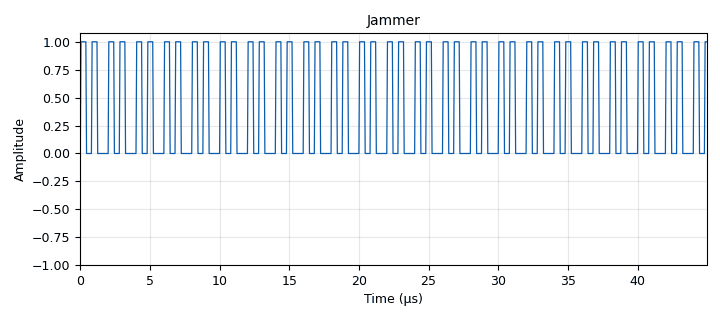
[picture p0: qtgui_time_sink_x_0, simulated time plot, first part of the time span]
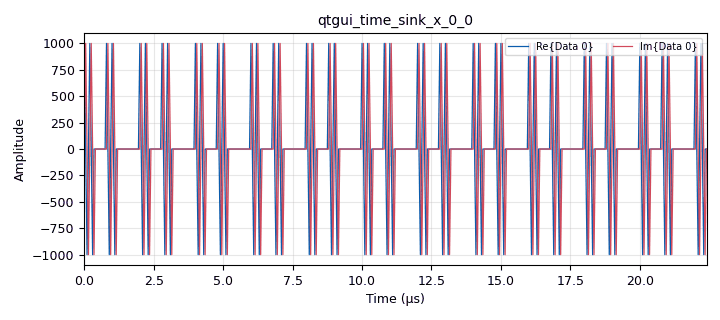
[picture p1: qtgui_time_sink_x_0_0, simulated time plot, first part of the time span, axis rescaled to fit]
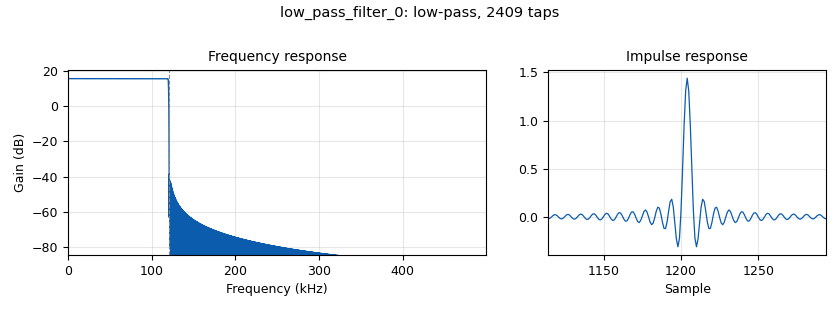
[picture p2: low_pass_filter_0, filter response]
options:
  parameters:
    generate_options: qt_gui
    id: rolling_code_grabber
    output_language: python
    title: Not titled yet
  states: {}

blocks:
- name: samp_rate_jammer
  id: variable
  parameters:
    value: 20e6
  states: {}
- name: samp_rate_listener
  id: variable
  parameters:
    value: 1e6
  states: {}
- name: seleziona_frequenza
  id: variable_qtgui_entry
  parameters:
    type: real
    value: 433.85e6
  states: {}
- name: signal_freq
  id: variable
  parameters:
    value: 5000e3
  states: {}
- name: tx_freq
  id: variable
  parameters:
    value: 435.5e6
  states: {}
- name: analog_const_source_x_0
  id: analog_const_source_x
  parameters:
    const: '0'
    type: float
  states: {}
- name: analog_sig_source_x_0
  id: analog_sig_source_x
  parameters:
    amp: '1000'
    freq: signal_freq
    offset: '0'
    phase: '0'
    samp_rate: samp_rate_jammer
    type: complex
    waveform: analog.GR_COS_WAVE
  states: {}
- name: blocks_file_sink_1
  id: blocks_file_sink
  parameters:
    file: /tmp/test.rec
    type: complex
  states: {}
- name: blocks_file_source_0
  id: blocks_file_source
  parameters:
    file: /tmp/test.rec
    repeat: 'True'
    type: complex
  states: {state: disabled}
- name: blocks_float_to_complex_0
  id: blocks_float_to_complex
  parameters: {}
  states: {}
- name: blocks_multiply_xx_0
  id: blocks_multiply_xx
  parameters:
    type: complex
  states: {}
- name: blocks_repeat_0
  id: blocks_repeat
  parameters:
    interp: '8'
    type: int
  states: {}
- name: blocks_throttle_0
  id: blocks_throttle
  parameters:
    samples_per_second: samp_rate_jammer
    type: complex
  states: {}
- name: blocks_vector_source_x_0
  id: blocks_vector_source_x
  parameters:
    repeat: 'True'
    type: float
    vector: (1,0,0,1,0)
  states: {}
- name: low_pass_filter_0
  id: low_pass_filter
  parameters:
    cutoff_freq: '120000'
    decim: '1'
    gain: '6'
    samp_rate: samp_rate_listener
    type: fir_filter_ccf
    width: '1000'
    win: firdes.WIN_HAMMING
  states: {}
- name: note_0
  id: note
  parameters:
    note: Sniffer
  states: {}
- name: note_1
  id: note
  parameters:
    note: Jammer
  states: {}
- name: note_3
  id: note
  parameters:
    note: Replay the sampled data
  states: {}
- name: note_4
  id: note
  parameters:
    note: A little frequency shifting to avoid DC offset issue
  states: {}
- name: note_5
  id: note
  parameters:
    note: Signal resample according best transmission capabilities of used hardware and fairly system resource usage
  states: {state: disabled}
- name: osmosdr_sink_0
  id: osmosdr_sink
  parameters:
    bb_gain0: '62'
    freq0: tx_freq-signal_freq
    gain0: '14'
    if_gain0: '47'
    sample_rate: samp_rate_jammer
    sync: sync
    type: fc32
  states: {}
- name: osmosdr_sink_0_0
  id: osmosdr_sink
  parameters:
    bb_gain0: '0'
    freq0: seleziona_frequenza
    gain0: '20'
    if_gain0: '47'
    sample_rate: 4e6
    sync: sync
    type: fc32
  states: {state: disabled}
- name: qtgui_freq_sink_x_0
  id: qtgui_freq_sink_x
  parameters:
    bw: 120e3
    fc: '0'
    fftsize: '1024'
    name: Listener
    type: complex
    wintype: firdes.WIN_BLACKMAN_hARRIS
  states: {}
- name: qtgui_freq_sink_x_0_0
  id: qtgui_freq_sink_x
  parameters:
    bw: '0'
    fc: '0'
    fftsize: '1024'
    gui_hint: 0,0
    name: Replay
    type: complex
    wintype: firdes.WIN_BLACKMAN_hARRIS
  states: {state: disabled}
- name: qtgui_time_sink_x_0
  id: qtgui_time_sink_x
  parameters:
    name: Jammer
    size: '16384'
    srate: samp_rate_jammer
    tr_level: '0.5'
    tr_mode: qtgui.TRIG_MODE_AUTO
    type: float
  states: {}
- name: qtgui_time_sink_x_0_0
  id: qtgui_time_sink_x
  parameters:
    size: '16384'
    srate: samp_rate_jammer
    type: complex
  states: {}
- name: rational_resampler_xxx_0
  id: rational_resampler_xxx
  parameters:
    decim: '1'
    interp: '4'
    taps: ''
    type: ccc
  states: {state: disabled}
- name: rtlsdr_source_0
  id: rtlsdr_source
  parameters:
    bb_gain0: '20'
    freq0: seleziona_frequenza
    gain0: '10'
    gain_mode0: 'False'
    if_gain0: '20'
    sample_rate: samp_rate_listener
    sync: sync
    type: fc32
  states: {}

connections:
- [analog_const_source_x_0, '0', blocks_float_to_complex_0, '1']
- [analog_sig_source_x_0, '0', blocks_throttle_0, '0']
- [blocks_file_source_0, '0', qtgui_freq_sink_x_0_0, '0']
- [blocks_file_source_0, '0', rational_resampler_xxx_0, '0']
- [blocks_float_to_complex_0, '0', blocks_multiply_xx_0, '0']
- [blocks_multiply_xx_0, '0', osmosdr_sink_0, '0']
- [blocks_multiply_xx_0, '0', qtgui_time_sink_x_0_0, '0']
- [blocks_repeat_0, '0', blocks_float_to_complex_0, '0']
- [blocks_repeat_0, '0', qtgui_time_sink_x_0, '0']
- [blocks_throttle_0, '0', blocks_multiply_xx_0, '1']
- [blocks_vector_source_x_0, '0', blocks_repeat_0, '0']
- [low_pass_filter_0, '0', blocks_file_sink_1, '0']
- [low_pass_filter_0, '0', qtgui_freq_sink_x_0, '0']
- [rational_resampler_xxx_0, '0', osmosdr_sink_0_0, '0']
- [rtlsdr_source_0, '0', low_pass_filter_0, '0']

metadata:
  file_format: 1
